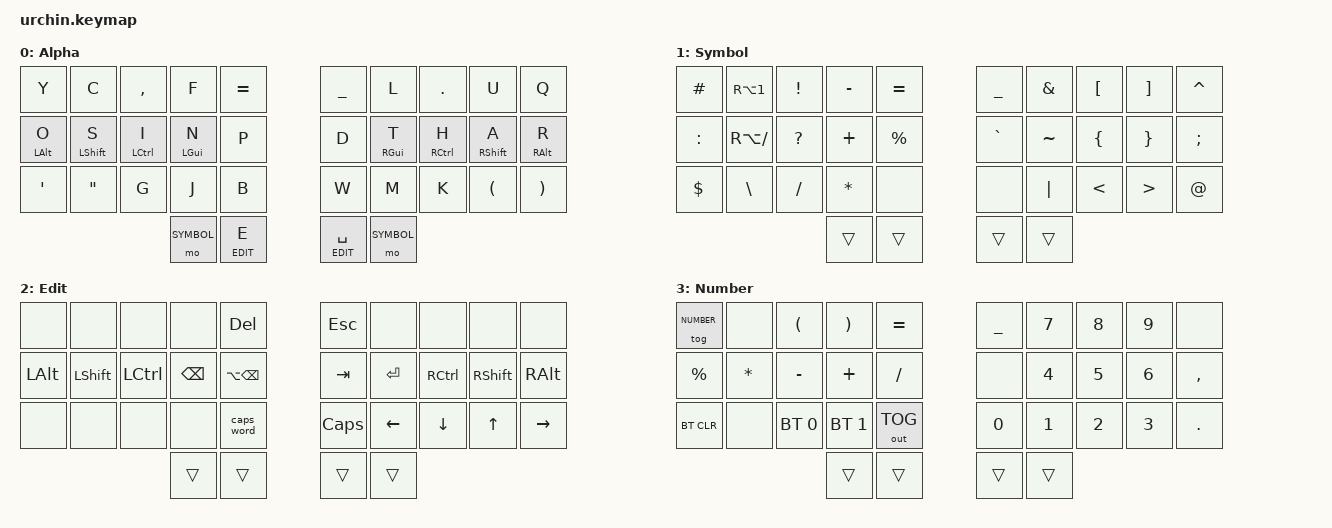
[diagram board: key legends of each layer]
// Urchin Keymap — https://zmk.dev/docs/keymaps
// SPDX-License-Identifier: MIT

// Key Positions
//
//   0  1  2  3  4        5  6  7  8  9
//  10 11 12 13 14       15 16 17 18 19
//  20 21 22 23 24       25 26 27 28 29
//           30 31       32 33

// Rules
// 1. Inner Thumbs Hold EDIT, Outer Thumbs Hold SYMBOL, Both Outer Give NUMBER
// 2. Modifiers Keep Their Alpha Positions on Every Layer
// 3. Every Key Lives in Exactly One Place
// 4. Empty Positions Are Deliberate

#include <behaviors.dtsi>
#include <dt-bindings/zmk/keys.h>
#include <dt-bindings/zmk/bt.h>
#include <dt-bindings/zmk/outputs.h>

// ### LAYERS ###
#define ALPHA  0
#define SYMBOL 1
#define EDIT   2
#define NUMBER 3

// Home-Row Mod Triggers, Opposite Hand Plus Thumbs
#define RIGHT_HAND 5 6 7 8 9 15 16 17 18 19 25 26 27 28 29
#define LEFT_HAND  0 1 2 3 4 10 11 12 13 14 20 21 22 23 24
#define THUMBS     30 31 32 33

/ {
	// ### BEHAVIORS ###
	behaviors {
		// Home-Row Mods, Left Hand
		hml: home_row_mod_left {
			compatible = "zmk,behavior-hold-tap";
			#binding-cells = <2>;
			bindings = <&kp>, <&kp>;
			flavor = "balanced";
			tapping-term-ms = <280>;
			quick-tap-ms = <175>;
			require-prior-idle-ms = <150>;                      // No holds mid-word
			hold-trigger-key-positions = <RIGHT_HAND THUMBS>;   // Cross-hand only
			hold-trigger-on-release;
		};

		// Home-Row Mods, Right Hand
		hmr: home_row_mod_right {
			compatible = "zmk,behavior-hold-tap";
			#binding-cells = <2>;
			bindings = <&kp>, <&kp>;
			flavor = "balanced";
			tapping-term-ms = <280>;
			quick-tap-ms = <175>;
			require-prior-idle-ms = <150>;                      // No holds mid-word
			hold-trigger-key-positions = <LEFT_HAND THUMBS>;    // Cross-hand only
			hold-trigger-on-release;
		};

		// Inner Thumbs, Tap Character / Hold EDIT
		elt: edit_layer_tap {
			compatible = "zmk,behavior-hold-tap";
			#binding-cells = <2>;
			bindings = <&mo>, <&kp>;
			flavor = "balanced";       // Not &lt, which waits the full term
			tapping-term-ms = <200>;
			quick-tap-ms = <175>;
			require-prior-idle-ms = <150>;
		};
	};

	// ### COMBOS ###
	combos {
		compatible = "zmk,combos";

		// NUMBER, Both Outer Thumbs
		cb_num {
			timeout-ms = <50>;         // Widen to 60-70 if it misses
			key-positions = <30 33>;
			bindings = <&mo NUMBER>;
			layers = <ALPHA>;
		};

		// Missing Letters, One Hand Each
		cb_v {
			timeout-ms = <40>;
			key-positions = <22 23>;   // G + J
			bindings = <&kp V>;
			layers = <ALPHA>;
		};

		cb_x {
			timeout-ms = <30>;         // Tighter, quotes sit next to G
			key-positions = <21 22>;   // " + G
			bindings = <&kp X>;
			layers = <ALPHA>;
		};

		cb_z {
			timeout-ms = <40>;
			key-positions = <26 27>;   // M + K
			bindings = <&kp Z>;
			layers = <ALPHA>;
		};
	};

	// ### KEYMAP ###
	keymap {
		compatible = "zmk,keymap";

		// Alpha, Ztron With Home-Row Mods ⌥ ⇧ ⌃ ⌘
		alpha_layer {
			display-name = "Alpha";
			bindings = <
			&kp Y        &kp C         &kp COMMA     &kp F        &kp EQUAL       &kp UNDER  &kp L        &kp DOT       &kp U         &kp Q
			&hml LALT O  &hml LSHFT S  &hml LCTRL I  &hml LGUI N  &kp P           &kp D      &hmr RGUI T  &hmr RCTRL H  &hmr RSHFT A  &hmr RALT R
			&kp SQT      &kp DQT       &kp G         &kp J        &kp B           &kp W      &kp M        &kp K         &kp LPAR      &kp RPAR
			                                &mo SYMBOL  &elt EDIT E          &elt EDIT SPACE  &mo SYMBOL
			>;
		};

		// Symbol, Hold Outer Thumb
		// ¡ ¿ Are AltGr Sequences for Linux intl
		symbol_layer {
			display-name = "Symbol";
			bindings = <
			&kp HASH   &kp RA(N1)         &kp EXCL   &kp MINUS  &kp EQUAL       &kp UNDER  &kp AMPS   &kp LBKT  &kp RBKT  &kp CARET
			&kp COLON  &kp RA(FSLH)       &kp QMARK  &kp PLUS   &kp PRCNT       &kp GRAVE  &kp TILDE  &kp LBRC  &kp RBRC  &kp SEMI
			&kp DLLR   &kp BSLH           &kp FSLH   &kp ASTRK  &none           &none      &kp PIPE   &kp LT    &kp GT    &kp AT
			                                    &trans  &trans                       &trans  &trans
			>;
		};

		// Edit, Hold Inner Thumb, Left Deletes / Right Moves
		// Plain Modifiers, Not &trans, So ⇧⌫ Can't Type S
		edit_layer {
			display-name = "Edit";
			bindings = <
			&none      &none      &none      &none      &kp DEL          &kp ESC   &none     &none      &none      &none
			&kp LALT   &kp LSHFT  &kp LCTRL  &kp BSPC   &kp LA(BSPC)     &kp TAB   &kp RET   &kp RCTRL  &kp RSHFT  &kp RALT
			&none      &none      &none      &none      &caps_word       &kp CAPS  &kp LEFT  &kp DOWN   &kp UP     &kp RIGHT
			                                    &trans  &trans                        &trans  &trans
			>;
		};

		// Number, Both Outer Thumbs, Position 0 Latches
		// Radio Keys on the Bottom Left, BT_CLR Alone in the Corner
		number_layer {
			display-name = "Number";
			bindings = <
			&tog NUMBER  &none      &kp LPAR      &kp RPAR      &kp EQUAL       &kp UNDER  &kp N7  &kp N8  &kp N9  &none
			&kp PRCNT    &kp ASTRK  &kp MINUS     &kp PLUS      &kp FSLH        &none      &kp N4  &kp N5  &kp N6  &kp COMMA
			&bt BT_CLR   &none      &bt BT_SEL 0  &bt BT_SEL 1  &out OUT_TOG    &kp N0     &kp N1  &kp N2  &kp N3  &kp DOT
			                                   &trans  &trans                  &trans  &trans
			>;
		};
	};
};
